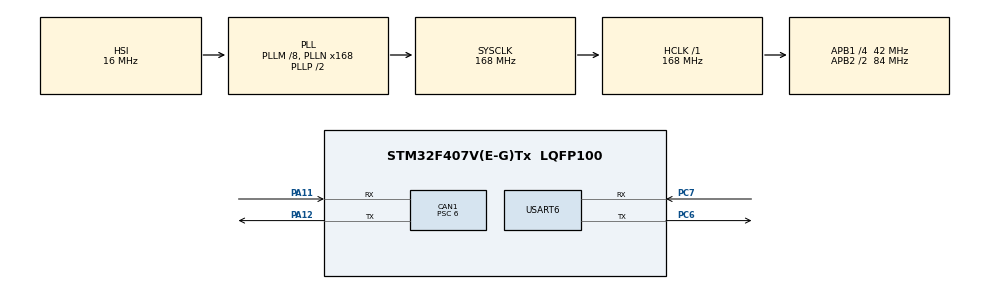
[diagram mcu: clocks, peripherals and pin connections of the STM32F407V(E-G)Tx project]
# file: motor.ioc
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CAN1.ABOM=DISABLE
CAN1.BS1=CAN_BS1_5TQ
CAN1.CalculateBaudRate=1000000
CAN1.CalculateTimeBit=1000
CAN1.CalculateTimeQuantum=142.85714285714286
CAN1.Prescaler=6
Dma.Request0=USART6_RX
Dma.Request1=USART6_TX
Dma.USART6_RX.0.Direction=DMA_PERIPH_TO_MEMORY
Dma.USART6_RX.0.FIFOMode=DMA_FIFOMODE_DISABLE
Dma.USART6_RX.0.Instance=DMA2_Stream1
Dma.USART6_RX.0.MemDataAlignment=DMA_MDATAALIGN_BYTE
Dma.USART6_RX.0.MemInc=DMA_MINC_ENABLE
Dma.USART6_RX.0.Mode=DMA_NORMAL
Dma.USART6_RX.0.PeriphDataAlignment=DMA_PDATAALIGN_BYTE
Dma.USART6_RX.0.PeriphInc=DMA_PINC_DISABLE
Dma.USART6_RX.0.Priority=DMA_PRIORITY_LOW
Dma.USART6_TX.1.Direction=DMA_MEMORY_TO_PERIPH
Dma.USART6_TX.1.FIFOMode=DMA_FIFOMODE_DISABLE
Dma.USART6_TX.1.Instance=DMA2_Stream6
Dma.USART6_TX.1.MemDataAlignment=DMA_MDATAALIGN_BYTE
Dma.USART6_TX.1.MemInc=DMA_MINC_ENABLE
Dma.USART6_TX.1.Mode=DMA_NORMAL
Dma.USART6_TX.1.PeriphDataAlignment=DMA_PDATAALIGN_BYTE
Dma.USART6_TX.1.PeriphInc=DMA_PINC_DISABLE
Dma.USART6_TX.1.Priority=DMA_PRIORITY_LOW
Mcu.Family=STM32F4
Mcu.Name=STM32F407V(E-G)Tx
Mcu.Package=LQFP100
NVIC.CAN1_RX0_IRQn=true\:1\:0\:true\:false\:true\:true\:true\:true
NVIC.DMA2_Stream1_IRQn=true\:0\:0\:false\:false\:true\:false\:true\:true
NVIC.DMA2_Stream6_IRQn=true\:0\:0\:false\:false\:true\:false\:true\:true
NVIC.PriorityGroup=NVIC_PRIORITYGROUP_4
NVIC.USART6_IRQn=true\:0\:0\:false\:false\:true\:true\:true\:true
PA11.Mode=CAN_Activate
PA11.Signal=CAN1_RX
PA12.Mode=CAN_Activate
PA12.Signal=CAN1_TX
PA13.Mode=Serial_Wire
PA13.Signal=SYS_JTMS-SWDIO
PA14.Mode=Serial_Wire
PA14.Signal=SYS_JTCK-SWCLK
PC6.Mode=Asynchronous
PC6.Signal=USART6_TX
PC7.Mode=Asynchronous
PC7.Signal=USART6_RX
PH0-OSC_IN.Mode=HSE-External-Oscillator
PH0-OSC_IN.Signal=RCC_OSC_IN
PH1-OSC_OUT.Mode=HSE-External-Oscillator
PH1-OSC_OUT.Signal=RCC_OSC_OUT
ProjectManager.HeapSize=0x200
ProjectManager.StackSize=0x400
ProjectManager.TargetToolchain=MDK-ARM V5.32
RCC.48MHZClocksFreq_Value=84000000
RCC.AHBFreq_Value=168000000
RCC.APB1CLKDivider=RCC_HCLK_DIV4
RCC.APB1Freq_Value=42000000
RCC.APB1TimFreq_Value=84000000
RCC.APB2CLKDivider=RCC_HCLK_DIV2
RCC.APB2Freq_Value=84000000
RCC.APB2TimFreq_Value=168000000
RCC.CortexFreq_Value=168000000
RCC.HCLKFreq_Value=168000000
RCC.HSE_VALUE=8000000
RCC.HSI_VALUE=16000000
RCC.LSE_VALUE=32768
RCC.PLLM=8
RCC.PLLN=168
RCC.SYSCLKFreq_VALUE=168000000
RCC.SYSCLKSource=RCC_SYSCLKSOURCE_PLLCLK
RCC.VCOOutputFreq_Value=336000000
USART6.VirtualMode=VM_ASYNC
board=custom

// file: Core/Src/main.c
/* USER CODE BEGIN Header */
/**
  ******************************************************************************
  * @file           : main.c
  * @brief          : Main program body
  ******************************************************************************
  * @attention
  *
  * Copyright (c) 2025 STMicroelectronics.
  * All rights reserved.
  *
  * This software is licensed under terms that can be found in the LICENSE file
  * in the root directory of this software component.
  * If no LICENSE file comes with this software, it is provided AS-IS.
  *
  ******************************************************************************
  */
/* USER CODE END Header */
#include "main.h"
#include "can.h"
#include "dma.h"
#include "usart.h"
#include "gpio.h"

/* USER CODE BEGIN Includes */
#include "Caculate.h"
#include "DJI.h"
//#include "uart_printf.c"
#include "wtr_can.h"
#include "wtr_uart.h"
#include "M2006.h"
#include "stdlib.h"
/* USER CODE END Includes */

/* USER CODE BEGIN PV */
uint8_t receive_flag = '0';
uint8_t rx_buffer[10];//接收数组
uint8_t rx_done = 0;//接收完成标志�?
uint8_t tx_once_flag = 0;//发�?�检验标志位
double ref;
int rx_index=0;
/* USER CODE END PV */

void SystemClock_Config(void);

/* USER CODE BEGIN 0 */

//float_to_byte place;//目标位置

/* USER CODE END 0 */

int main(void)
{

  /* MCU Configuration--------------------------------------------------------*/

  /* Reset of all peripherals, Initializes the Flash interface and the Systick. */
  HAL_Init();

  /* Configure the system clock */
  SystemClock_Config();

  /* Initialize all configured peripherals */
  MX_GPIO_Init();
  MX_DMA_Init();
  MX_CAN1_Init();
  MX_USART6_UART_Init();
  /* USER CODE BEGIN 2 */

	CANFilterInit(&hcan1);//用于初始化can1总线、开启过滤器，无法使用can2
	M2006_init();
	HAL_UARTEx_ReceiveToIdle_DMA(&huart6,rx_buffer,10);
	__HAL_DMA_DISABLE_IT(&hdma_usart6_rx,DMA_IT_HT);
  /* USER CODE END 2 */

  /* Infinite loop */
  /* USER CODE BEGIN WHILE */
//发�?�格式要求：'A' + float编码�?4位）
  while (1)
  {
		if(rx_done == 1 && rx_buffer[0] == 'A')//发�?�新位置要求，重置当前位置计�?
		{
//			place.byte[0] = rx_buffer[1];
//			place.byte[1] = rx_buffer[2];
//			place.byte[2] = rx_buffer[3];
//			place.byte[3] = rx_buffer[4];
			//set_M2006_position_cm(ref);
			rx_done = 0;
			tx_once_flag = 1;//�?次接收后只进行一次回�?
		}
		set_M2006_position_cm(ref);

		CanTransmit_DJI_1234(&hcan1,hDJI[0].speedPID.output,hDJI[1].speedPID.output,hDJI[2].speedPID.output,hDJI[3].speedPID.output); // 自行选择�?要的电机ID填入

		if(M2006_done() == 1 && tx_once_flag == 1)//到位
		{
//			HAL_UART_Transmit_DMA(&huart1, "M2006 DONE", 11);//发�?�M2006 DONE\0
			HAL_UART_Transmit(&huart6,"1\r\n",3,0xff);
			tx_once_flag = 0;//复位tx_once_flag
		}
		HAL_Delay(5);// 循环时间，确定PID频率与发送频�?	反馈信息有直接�?�度数据，因此不用定时器也可以在该延时时间可变的前提下完成PID计算
    /* USER CODE END WHILE */

  }
}

void SystemClock_Config(void)
{
  RCC_OscInitTypeDef RCC_OscInitStruct = {0};
  RCC_ClkInitTypeDef RCC_ClkInitStruct = {0};

  /** Configure the main internal regulator output voltage
  */
  __HAL_RCC_PWR_CLK_ENABLE();
  __HAL_PWR_VOLTAGESCALING_CONFIG(PWR_REGULATOR_VOLTAGE_SCALE1);

  /** Initializes the RCC Oscillators according to the specified parameters
  * in the RCC_OscInitTypeDef structure.
  */
  RCC_OscInitStruct.OscillatorType = RCC_OSCILLATORTYPE_HSI;
  RCC_OscInitStruct.HSIState = RCC_HSI_ON;
  RCC_OscInitStruct.HSICalibrationValue = RCC_HSICALIBRATION_DEFAULT;
  RCC_OscInitStruct.PLL.PLLState = RCC_PLL_ON;
  RCC_OscInitStruct.PLL.PLLSource = RCC_PLLSOURCE_HSI;
  RCC_OscInitStruct.PLL.PLLM = 8;
  RCC_OscInitStruct.PLL.PLLN = 168;
  RCC_OscInitStruct.PLL.PLLP = RCC_PLLP_DIV2;
  RCC_OscInitStruct.PLL.PLLQ = 4;
  if (HAL_RCC_OscConfig(&RCC_OscInitStruct) != HAL_OK)
  {
    Error_Handler();
  }

  /** Initializes the CPU, AHB and APB buses clocks
  */
  RCC_ClkInitStruct.ClockType = RCC_CLOCKTYPE_HCLK|RCC_CLOCKTYPE_SYSCLK
                              |RCC_CLOCKTYPE_PCLK1|RCC_CLOCKTYPE_PCLK2;
  RCC_ClkInitStruct.SYSCLKSource = RCC_SYSCLKSOURCE_PLLCLK;
  RCC_ClkInitStruct.AHBCLKDivider = RCC_SYSCLK_DIV1;
  RCC_ClkInitStruct.APB1CLKDivider = RCC_HCLK_DIV4;
  RCC_ClkInitStruct.APB2CLKDivider = RCC_HCLK_DIV2;

  if (HAL_RCC_ClockConfig(&RCC_ClkInitStruct, FLASH_LATENCY_5) != HAL_OK)
  {
    Error_Handler();
  }
}

/* USER CODE BEGIN 4 */
//void HAL_UART_RxCpltCallback(UART_HandleTypeDef *huart)
//{
//	if(huart->Instance == USART1)
//	{
//		rx_done = 1;
//		HAL_UART_Receive_IT(&huart1, rx_buffer, 5);
//	}
//}
void HAL_UARTEx_RxEventCallback(UART_HandleTypeDef* huart,uint16_t Size){
	if(huart==&huart6){//第一位设为标志位
		rx_done=1;
		receive_flag = rx_buffer[0];
		ref=atof(&rx_buffer[1]);
		HAL_UARTEx_ReceiveToIdle_DMA(&huart6,rx_buffer,10);
		__HAL_DMA_DISABLE_IT(&hdma_usart6_rx,DMA_IT_HT);
	}
}

/* USER CODE END 4 */

void Error_Handler(void)
{
  __disable_irq();
  while (1)
  {
  }
}
